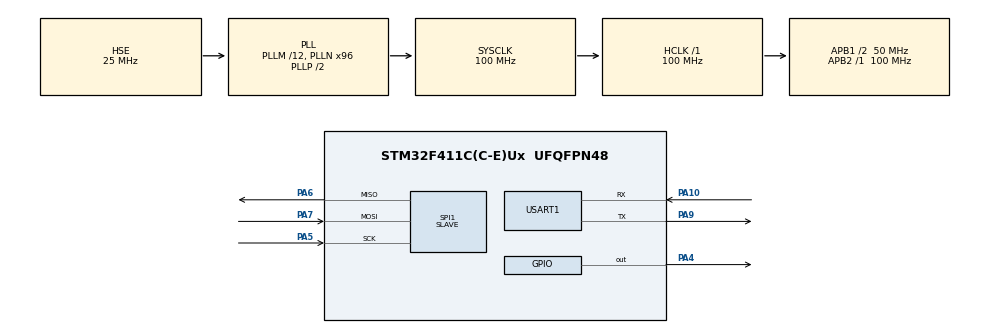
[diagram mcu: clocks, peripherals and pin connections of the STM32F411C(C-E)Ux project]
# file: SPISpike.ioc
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Mcu.Family=STM32F4
Mcu.Name=STM32F411C(C-E)Ux
Mcu.Package=UFQFPN48
NVIC.PriorityGroup=NVIC_PRIORITYGROUP_4
NVIC.SPI1_IRQn=true\:0\:0\:false\:false\:true\:true\:true
PA10.Mode=Asynchronous
PA10.Signal=USART1_RX
PA13.Mode=Serial_Wire
PA13.Signal=SYS_JTMS-SWDIO
PA14.Mode=Serial_Wire
PA14.Signal=SYS_JTCK-SWCLK
PA4.Signal=GPIO_Output
PA5.Mode=Full_Duplex_Slave
PA5.Signal=SPI1_SCK
PA6.Mode=Full_Duplex_Slave
PA6.Signal=SPI1_MISO
PA7.Mode=Full_Duplex_Slave
PA7.Signal=SPI1_MOSI
PA9.Mode=Asynchronous
PA9.Signal=USART1_TX
PH0\ -\ OSC_IN.Mode=HSE-External-Oscillator
PH0\ -\ OSC_IN.Signal=RCC_OSC_IN
PH1\ -\ OSC_OUT.Mode=HSE-External-Oscillator
PH1\ -\ OSC_OUT.Signal=RCC_OSC_OUT
ProjectManager.HeapSize=0x200
ProjectManager.StackSize=0x400
ProjectManager.TargetToolchain=STM32CubeIDE
RCC.48MHZClocksFreq_Value=50000000
RCC.AHBFreq_Value=100000000
RCC.APB1CLKDivider=RCC_HCLK_DIV2
RCC.APB1Freq_Value=50000000
RCC.APB1TimFreq_Value=100000000
RCC.APB2Freq_Value=100000000
RCC.APB2TimFreq_Value=100000000
RCC.CortexFreq_Value=100000000
RCC.HCLKFreq_Value=100000000
RCC.HSE_VALUE=25000000
RCC.HSI_VALUE=16000000
RCC.LSE_VALUE=32768
RCC.PLLM=12
RCC.PLLN=96
RCC.PLLSourceVirtual=RCC_PLLSOURCE_HSE
RCC.SYSCLKFreq_VALUE=100000000
RCC.SYSCLKSource=RCC_SYSCLKSOURCE_PLLCLK
RCC.VCOOutputFreq_Value=200000000
SPI1.Direction=SPI_DIRECTION_2LINES
SPI1.Mode=SPI_MODE_SLAVE
SPI1.VirtualType=VM_SLAVE
USART1.VirtualMode=VM_ASYNC
board=custom

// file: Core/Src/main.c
/* USER CODE BEGIN Header */
/**
 ******************************************************************************
 * @file           : main.c
 * @brief          : Main program body
 ******************************************************************************
 * @attention
 *
 * <h2><center>&copy; Copyright (c) 2020 STMicroelectronics.
 * All rights reserved.</center></h2>
 *
 * This software component is licensed by ST under BSD 3-Clause license,
 * the "License"; You may not use this file except in compliance with the
 * License. You may obtain a copy of the License at:
 *                        opensource.org/licenses/BSD-3-Clause
 *
 ******************************************************************************
 */
/* USER CODE END Header */
#include "main.h"

/* USER CODE BEGIN Includes */
#include "string.h"
/* USER CODE END Includes */

SPI_HandleTypeDef hspi1;

UART_HandleTypeDef huart1;

void SystemClock_Config(void);
static void MX_GPIO_Init(void);
static void MX_SPI1_Init(void);
static void MX_USART1_UART_Init(void);

/* USER CODE BEGIN 0 */

uint8_t buffer[1024];

uint8_t spi_buffer[1024];

uint8_t state = 0;
//HAL_SPI_RxCpltCallback
void RxCpltCallback(SPI_HandleTypeDef *hspi) {
	if(state == 0){
		sprintf(buffer, "RX: %d - %01x %02x\n", hspi1.RxXferCount, spi_buffer[0], spi_buffer[1]);

		HAL_UART_Transmit(&huart1, buffer, strlen(buffer), 2000);

		if(spi_buffer[1] != 0) {

			state = 1;

			HAL_SPI_Receive_IT(&hspi1, spi_buffer + 2, spi_buffer[1]);
		} else {
			state = 0;

			HAL_SPI_Receive_IT(&hspi1, spi_buffer, 2);
		}
	}else {
		sprintf(buffer, "RX done: %d - %01x %02x\n", hspi1.RxXferCount, spi_buffer[0], spi_buffer[1]);

		HAL_UART_Transmit(&huart1, buffer, strlen(buffer), 2000);

		state = 0;

		HAL_SPI_Receive_IT(&hspi1, spi_buffer, 2);
	}

//	NSS_Set(0);
//
//	NSS_Set(1);

//	HAL_SPI_Transmit_IT(&hspi1, spi_buffer, 4);
}

void HAL_SPI_TxCpltCallback(SPI_HandleTypeDef *hspi) {
//	HAL_SPI_Receive_IT(&hspi1, buffer, 2);

	NSS_Set(0);

	sprintf(buffer, "Next\n");

	HAL_UART_Transmit(&huart1, buffer, strlen(buffer), 2000);

	NSS_Set(1);

	HAL_SPI_TransmitReceive_IT(&hspi1, spi_buffer, spi_buffer, 2);
}

void HAL_SPI_Error(SPI_HandleTypeDef *hspi) {
	sprintf(buffer, "ERROR\n");

	HAL_UART_Transmit(&huart1, buffer, strlen(buffer), 2000);
}

void NSS_Set(uint8_t set) {
	HAL_GPIO_WritePin(GPIOA, GPIO_PIN_4, set ? GPIO_PIN_RESET : GPIO_PIN_SET);
}

/* USER CODE END 0 */

int main(void)
{
  /* USER CODE BEGIN 1 */

	HAL_StatusTypeDef result;

  /* USER CODE END 1 */

  /* MCU Configuration--------------------------------------------------------*/

  /* Reset of all peripherals, Initializes the Flash interface and the Systick. */
  HAL_Init();

  /* Configure the system clock */
  SystemClock_Config();

  /* Initialize all configured peripherals */
  MX_GPIO_Init();
  MX_SPI1_Init();
  MX_USART1_UART_Init();
  /* USER CODE BEGIN 2 */

//  hspi1.TxCpltCallback = HAL_SPI_TxCpltCallback;
  hspi1.RxCpltCallback = RxCpltCallback;
//  hspi1.TxRxCpltCallback = HAL_SPI_RxComplete;
//  hspi1.ErrorCallback = HAL_SPI_Error;

  spi_buffer[0] = 0x55;
  spi_buffer[1]= 0xaa;

  sprintf(buffer, "First\n");

  HAL_NVIC_EnableIRQ(SPI1_IRQn);

//	HAL_UART_Transmit(&huart1, buffer, strlen(buffer), 2000);

//	NSS_Set(1);
//
//	HAL_SPI_Transmit_IT(&hspi1, spi_buffer, 2);

  result = HAL_SPI_Receive_IT(&hspi1, spi_buffer, 2);

  /* USER CODE END 2 */

  /* Infinite loop */
	while (1) {

    /* USER CODE BEGIN 3 */

//		sprintf(buffer, "Loop: %d\n", hspi1.RxXferCount);
//
//		HAL_UART_Transmit(&huart1, buffer, strlen(buffer), 2000);

//		sprintf(buffer, "Loop\n");
//
//		HAL_UART_Transmit(&huart1, buffer, strlen(buffer), 2000);
//
//		HAL_SPI_Transmit(&hspi1, spi_buffer, 2, 1000);
	}
  /* USER CODE END 3 */
}

void SystemClock_Config(void)
{
  RCC_OscInitTypeDef RCC_OscInitStruct = {0};
  RCC_ClkInitTypeDef RCC_ClkInitStruct = {0};

  /** Configure the main internal regulator output voltage
  */
  __HAL_RCC_PWR_CLK_ENABLE();
  __HAL_PWR_VOLTAGESCALING_CONFIG(PWR_REGULATOR_VOLTAGE_SCALE1);
  /** Initializes the RCC Oscillators according to the specified parameters
  * in the RCC_OscInitTypeDef structure.
  */
  RCC_OscInitStruct.OscillatorType = RCC_OSCILLATORTYPE_HSE;
  RCC_OscInitStruct.HSEState = RCC_HSE_ON;
  RCC_OscInitStruct.PLL.PLLState = RCC_PLL_ON;
  RCC_OscInitStruct.PLL.PLLSource = RCC_PLLSOURCE_HSE;
  RCC_OscInitStruct.PLL.PLLM = 12;
  RCC_OscInitStruct.PLL.PLLN = 96;
  RCC_OscInitStruct.PLL.PLLP = RCC_PLLP_DIV2;
  RCC_OscInitStruct.PLL.PLLQ = 4;
  if (HAL_RCC_OscConfig(&RCC_OscInitStruct) != HAL_OK)
  {
    Error_Handler();
  }
  /** Initializes the CPU, AHB and APB buses clocks
  */
  RCC_ClkInitStruct.ClockType = RCC_CLOCKTYPE_HCLK|RCC_CLOCKTYPE_SYSCLK
                              |RCC_CLOCKTYPE_PCLK1|RCC_CLOCKTYPE_PCLK2;
  RCC_ClkInitStruct.SYSCLKSource = RCC_SYSCLKSOURCE_PLLCLK;
  RCC_ClkInitStruct.AHBCLKDivider = RCC_SYSCLK_DIV1;
  RCC_ClkInitStruct.APB1CLKDivider = RCC_HCLK_DIV2;
  RCC_ClkInitStruct.APB2CLKDivider = RCC_HCLK_DIV1;

  if (HAL_RCC_ClockConfig(&RCC_ClkInitStruct, FLASH_LATENCY_3) != HAL_OK)
  {
    Error_Handler();
  }
}

static void MX_SPI1_Init(void)
{

  /* SPI1 parameter configuration*/
  hspi1.Instance = SPI1;
  hspi1.Init.Mode = SPI_MODE_SLAVE;
  hspi1.Init.Direction = SPI_DIRECTION_2LINES;
  hspi1.Init.DataSize = SPI_DATASIZE_8BIT;
  hspi1.Init.CLKPolarity = SPI_POLARITY_LOW;
  hspi1.Init.CLKPhase = SPI_PHASE_1EDGE;
  hspi1.Init.NSS = SPI_NSS_SOFT;
  hspi1.Init.FirstBit = SPI_FIRSTBIT_MSB;
  hspi1.Init.TIMode = SPI_TIMODE_DISABLE;
  hspi1.Init.CRCCalculation = SPI_CRCCALCULATION_DISABLE;
  hspi1.Init.CRCPolynomial = 10;
  if (HAL_SPI_Init(&hspi1) != HAL_OK)
  {
    Error_Handler();
  }

}

static void MX_USART1_UART_Init(void)
{

  huart1.Instance = USART1;
  huart1.Init.BaudRate = 115200;
  huart1.Init.WordLength = UART_WORDLENGTH_8B;
  huart1.Init.StopBits = UART_STOPBITS_1;
  huart1.Init.Parity = UART_PARITY_NONE;
  huart1.Init.Mode = UART_MODE_TX_RX;
  huart1.Init.HwFlowCtl = UART_HWCONTROL_NONE;
  huart1.Init.OverSampling = UART_OVERSAMPLING_16;
  if (HAL_UART_Init(&huart1) != HAL_OK)
  {
    Error_Handler();
  }

}

static void MX_GPIO_Init(void)
{
  GPIO_InitTypeDef GPIO_InitStruct = {0};

  /* GPIO Ports Clock Enable */
  __HAL_RCC_GPIOH_CLK_ENABLE();
  __HAL_RCC_GPIOA_CLK_ENABLE();

  /*Configure GPIO pin Output Level */
  HAL_GPIO_WritePin(GPIOA, GPIO_PIN_4, GPIO_PIN_RESET);

  /*Configure GPIO pin : PA4 */
  GPIO_InitStruct.Pin = GPIO_PIN_4;
  GPIO_InitStruct.Mode = GPIO_MODE_OUTPUT_PP;
  GPIO_InitStruct.Pull = GPIO_NOPULL;
  GPIO_InitStruct.Speed = GPIO_SPEED_FREQ_LOW;
  HAL_GPIO_Init(GPIOA, &GPIO_InitStruct);

}

void Error_Handler(void)
{
}

/************************ (C) COPYRIGHT STMicroelectronics *****END OF FILE****/
